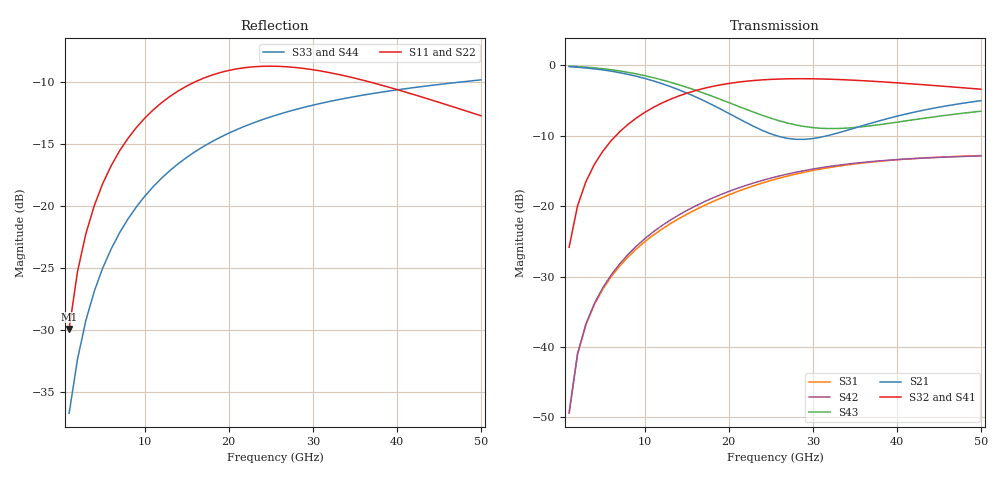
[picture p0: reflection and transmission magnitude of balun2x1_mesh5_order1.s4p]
! Created with skrf 2.1.0 (http://scikit-rf.org).
# GHz S DB R 50.0
! Port[1] = P1
! Port[2] = P2
! Port[3] = P3
! Port[4] = P4
!freq dBS11 angS11 dBS12 angS12 dBS13 angS13
! dBS14 angS14
! dBS21 angS21 dBS22 angS22 dBS23 angS23
! dBS24 angS24
! dBS31 angS31 dBS32 angS32 dBS33 angS33
! dBS34 angS34
! dBS41 angS41 dBS42 angS42 dBS43 angS43
! dBS44 angS44
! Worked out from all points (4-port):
!   50 points, 1 GHz to 50 GHz, reference 50 ohm
!   strongest paths, dB at 1 GHz, 13 GHz, 26 GHz, 38 GHz, 50 GHz:
!     S32: -25.8, -4.8, -1.9, -2.3, -3.4
!     S41: -25.8, -4.9, -2.0, -2.3, -3.4
!     S21: -0.2, -3.0, -10.1, -7.9, -5.0
!     S43: -0.1, -2.4, -7.9, -8.4, -6.5
!     S42: -49.3, -22.0, -15.7, -13.6, -12.9
!     S31: -49.4, -22.5, -16.0, -13.6, -12.8
!   lowest |S11| = -30.0 dB at 1 GHz (marker M1), VSWR 1.07, Z = 51.8 + j2.67 ohm
!   |S11| at or under -10 dB: start of sweep to 16.01 GHz; 36.66 GHz to end of sweep
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1  -29.96 54.1  -0.18 -5.7  -49.41 137.0  -25.83 84.4
   -0.18 -5.7  -29.94 53.9  -25.83 84.4  -49.34 137.4
   -49.41 137.0  -25.83 84.4  -36.75 -44.3  -0.12 -3.2
   -25.83 84.4  -49.34 137.4  -0.12 -3.2  -36.75 -44.3
3  -22.25 61.8  -0.37 -16.3  -36.84 107.6  -16.51 76.6
   -0.37 -16.3  -22.25 61.2  -16.51 76.6  -36.71 108.5
   -36.84 107.6  -16.51 76.6  -29.25 -81.1  -0.26 -9.1
   -16.51 76.6  -36.71 108.5  -0.26 -9.1  -29.23 -81.0
7  -15.59 50.1  -1.04 -37.6  -28.52 90.4  -9.45 60.4
   -1.04 -37.6  -15.63 48.8  -9.45 60.4  -28.21 91.5
   -28.52 90.4  -9.45 60.4  -22.20 -109.4  -0.80 -20.6
   -9.45 60.4  -28.21 91.5  -0.80 -20.6  -22.15 -109.2
14  -10.74 21.3  -3.45 -77.3  -21.81 71.0  -4.39 32.4
    -3.45 -77.3  -10.89 19.1  -4.37 32.4  -21.28 70.6
    -21.81 71.0  -4.37 32.4  -16.61 -143.0  -2.74 -37.4
    -4.39 32.4  -21.28 70.6  -2.74 -37.4  -16.47 -143.1
23  -8.79 -16.5  -8.69 -143.0  -17.09 47.6  -2.18 -0.2
    -8.69 -143.0  -9.06 -19.1  -2.15 -0.5  -16.69 44.7
    -17.09 47.6  -2.15 -0.5  -13.30 -178.3  -6.67 -44.4
    -2.18 -0.2  -16.69 44.7  -6.67 -44.4  -13.10 -179.3
36  -9.88 -62.4  -8.54 102.4  -13.86 12.5  -2.21 -36.3
    -8.54 102.4  -10.19 -65.3  -2.18 -36.8  -13.78 9.1
    -13.86 12.5  -2.18 -36.8  -11.08 141.4  -8.71 -21.8
    -2.21 -36.3  -13.78 9.1  -8.71 -21.8  -10.92 139.5
50  -12.74 -99.2  -5.02 51.6  -12.81 -18.4  -3.40 -63.0
    -5.02 51.6  -12.96 -102.8  -3.39 -63.8  -12.87 -21.4
    -12.81 -18.4  -3.39 -63.8  -9.85 108.4  -6.51 -19.8
    -3.40 -63.0  -12.87 -21.4  -6.51 -19.8  -9.75 106.4
